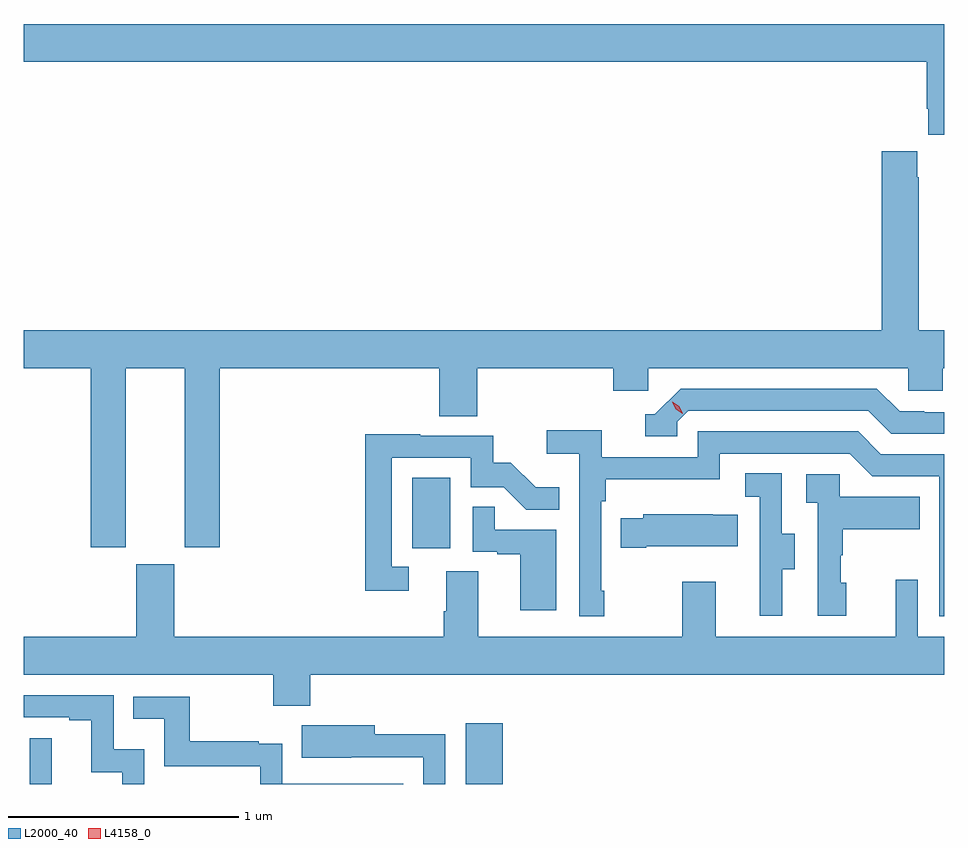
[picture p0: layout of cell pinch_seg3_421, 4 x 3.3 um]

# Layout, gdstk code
import gdstk
lib = gdstk.Library(unit=1e-6, precision=1e-09)
def R(c, l, rs):  # rectangles x0, y0, x1, y1
    for r in rs: c.add(gdstk.rectangle(r[:2], r[2:], *l))
def P(c, l, *ps):  # polygons
    for p in ps: c.add(gdstk.Polygon(p, *l))
L2000_40 = (2000, 40)
L4158_0 = (4158, 0)

pinch_seg3_421 = lib.new_cell('pinch_seg3_421')
R(pinch_seg3_421, L2000_40, [(936.438,701.773,936.535,701.971), (938.333,701.773,938.494,702.037), (938.102,702.798,938.266,703.105)])
P(pinch_seg3_421, L2000_40, [(940.413,705.076),(936.413,705.076),(936.413,704.912),(940.337,704.912),(940.337,704.707),(940.343,704.707),(940.343,704.595),(940.413,704.595)],
  [(936.856,703.58),(937.112,703.58),(937.112,702.801),(937.265,702.801),(937.265,703.58),(938.219,703.58),(938.219,703.372),(938.384,703.372),(938.384,703.58),(938.975,703.58),(938.975,703.482),(939.126,703.482),(939.126,703.58),(940.257,703.58),(940.257,703.482),(940.407,703.482),(940.407,703.58),(940.413,703.58),(940.413,703.744),(940.302,703.744),(940.302,704.411),(940.297,704.411),(940.297,704.524),(940.142,704.524),(940.142,703.744),(936.413,703.744),(936.413,703.58),(936.704,703.58),(936.704,702.801),(936.856,702.801)],
  [(939.252,703.347),(939.3,703.395),(940.083,703.395),(940.182,703.296),(940.413,703.296),(940.413,703.389),(940.326,703.389),(940.326,703.392),(940.219,703.392),(940.12,703.491),(939.267,703.491),(939.156,703.38),(939.113,703.38),(939.113,703.284),(939.252,703.284)],
  [(938.935,702.613),(938.922,702.613),(938.922,703.001),(938.942,703.001),(938.942,703.097),(939.438,703.097),(939.438,703.209),(940.002,703.209),(940.101,703.11),(940.392,703.11),(940.392,702.501),(940.413,702.501),(940.413,703.206),(940.138,703.206),(940.039,703.305),(939.342,703.305),(939.342,703.194),(938.924,703.194),(938.924,703.31),(938.685,703.31),(938.685,703.208),(938.826,703.208),(938.826,702.501),(938.935,702.501)],
  [(938.086,702.717),(938.013,702.717),(938.013,703.191),(938.355,703.191),(938.355,703.062),(938.499,703.062),(938.597,702.964),(938.741,702.964),(938.741,703.063),(938.637,703.063),(938.53,703.17),(938.454,703.17),(938.454,703.287),(938.135,703.287),(938.135,703.292),(937.897,703.292),(937.897,702.612),(938.086,702.612)],
  [(939.709,702.706),(939.763,702.706),(939.763,702.861),(939.708,702.861),(939.708,703.124),(939.549,703.124),(939.549,703.021),(939.612,703.021),(939.612,702.717),(939.611,702.717),(939.611,702.504),(939.709,702.504)],
  [(939.988,702.648),(939.963,702.648),(939.963,702.767),(939.973,702.767),(939.973,702.881),(940.307,702.881),(940.307,703.021),(939.96,703.021),(939.96,703.119),(939.813,703.119),(939.813,702.995),(939.864,702.995),(939.864,702.504),(939.988,702.504)],
  [(938.728,702.879),(938.459,702.879),(938.459,702.977),(938.364,702.977),(938.364,702.783),(938.471,702.783),(938.471,702.771),(938.57,702.771),(938.57,702.528),(938.728,702.528)],
  [(939.118,702.806),(939.515,702.806),(939.515,702.943),(939.407,702.943),(939.407,702.946),(939.105,702.946),(939.105,702.928),(939.007,702.928),(939.007,702.799),(939.118,702.799)],
  [(937.658,702.248),(940.413,702.248),(940.413,702.412),(940.299,702.412),(940.299,702.661),(940.202,702.661),(940.202,702.412),(939.421,702.412),(939.421,702.652),(939.274,702.652),(939.274,702.412),(938.389,702.412),(938.389,702.698),(938.249,702.698),(938.249,702.524),(938.237,702.524),(938.237,702.412),(937.066,702.412),(937.066,702.729),(936.902,702.729),(936.902,702.412),(936.413,702.412),(936.413,702.248),(937.498,702.248),(937.498,702.113),(937.658,702.113)],
  [(936.936,701.923),(936.804,701.923),(936.804,702.159),(936.413,702.159),(936.413,702.063),(936.611,702.063),(936.611,702.051),(936.707,702.051),(936.707,701.825),(936.84,701.825),(936.84,701.773),(936.936,701.773)],
  [(938.062,701.775),(937.536,701.775),(937.536,701.947),(937.433,701.947),(937.433,701.959),(937.135,701.959),(937.135,702.153),(936.889,702.153),(936.889,702.056),(937.024,702.056),(937.024,701.85),(937.44,701.85),(937.44,701.773),(938.062,701.773)],
  [(938.244,701.99),(937.939,701.99),(937.939,702.028),(937.621,702.028),(937.621,701.888),(937.835,701.888),(937.835,701.889),(938.148,701.889),(938.148,701.773),(938.244,701.773)])
P(pinch_seg3_421, L4158_0, [(939.277,703.382),(939.246,703.402),(939.231,703.435),(939.231,703.435),(939.231,703.435),(939.262,703.415),(939.277,703.382),(939.277,703.382)])

lib.write_gds('pinch_seg3_421.gds')
